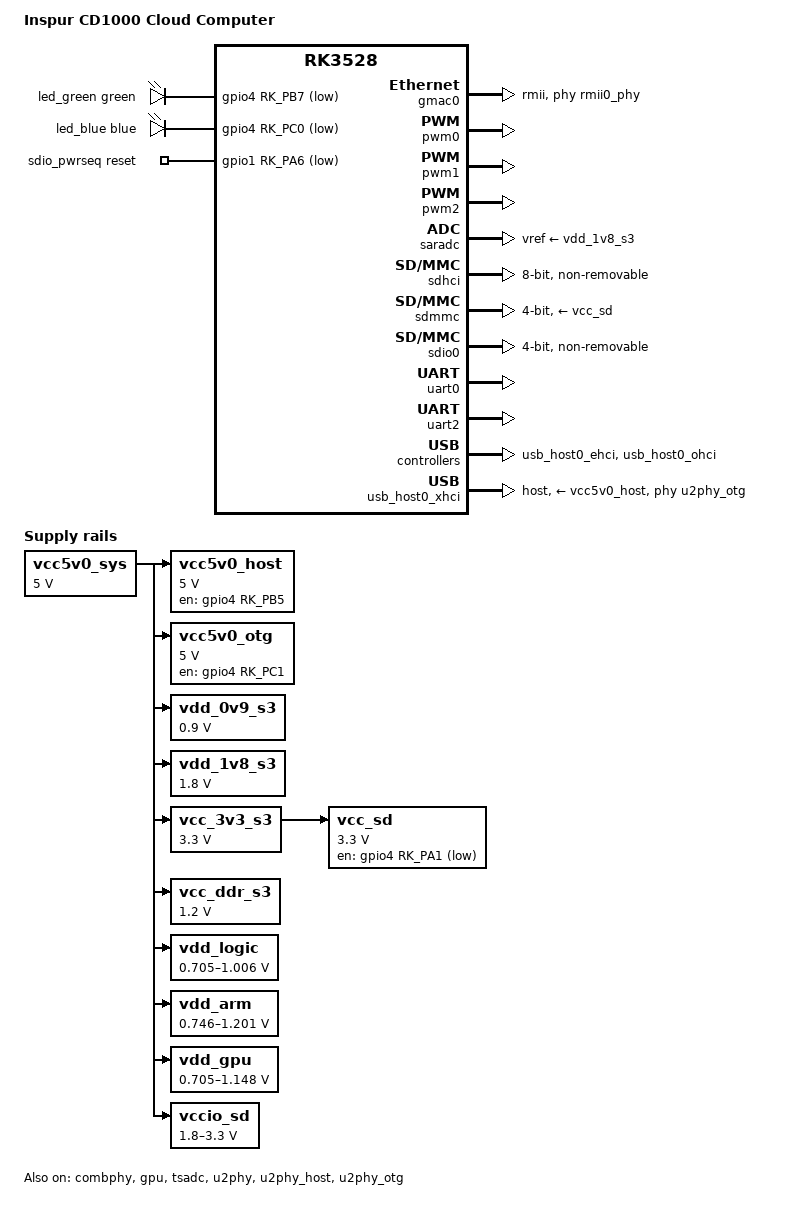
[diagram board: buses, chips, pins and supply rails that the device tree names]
// SPDX-License-Identifier: (GPL-2.0+ OR MIT)
/*
 * Copyright (c) 2022 Rockchip Electronics Co., Ltd.
 * Copyright (c) 2026 https://github.com/LSP0123
 *
 * Device Tree for Inspur CD1000 Cloud Computer Box
 */

/dts-v1/;

#include <dt-bindings/gpio/gpio.h>
#include <dt-bindings/input/input.h>
#include <dt-bindings/leds/common.h>
#include <dt-bindings/phy/phy.h>
#include <dt-bindings/pinctrl/rockchip.h>
#include <dt-bindings/pwm/pwm.h>
#include "rk3528.dtsi"
#include "rk3528-op-pwm.dtsi"

/ {
	model = "Inspur CD1000 Cloud Computer";
	compatible = "rockchip,cd1000", "rockchip,rk3528";

	aliases {
		ethernet0 = &gmac0;
		mmc0 = &sdmmc;
		mmc1 = &sdhci;
		serial0 = &uart0;
	};

	chosen {
		stdout-path = "serial0:1500000n8";
	};

	leds: leds {
		compatible = "gpio-leds";
		pinctrl-names = "default";
		pinctrl-0 = <&led_green_en>, <&led_blue_en>;

		led_green: led-green {
			color = <LED_COLOR_ID_GREEN>;
			function = LED_FUNCTION_HEARTBEAT;
			gpios = <&gpio4 RK_PB7 GPIO_ACTIVE_LOW>;
			linux,default-trigger = "heartbeat";
		};

		led_blue: led-blue {
			color = <LED_COLOR_ID_BLUE>;
			function = LED_FUNCTION_STATUS;
			gpios = <&gpio4 RK_PC0 GPIO_ACTIVE_LOW>;
			default-state = "on";
		};
	};

	reserved_memory: reserved-memory {
		#address-cells = <2>;
		#size-cells = <2>;
		ranges;

		cmd: cma {
			compatible = "shared-dma-pool";
			reusable;
			size = <0x00 0x2000000>;
			linux,cma-default;
		};

		ramoops: ramoops@110000 {
			compatible = "ramoops";
			reg = <0x0 0x110000 0x0 0xe0000>;
			boot-log-size = <0x8000>;
			boot-log-count = <0x1>;
			console-size = <0x80000>;
			pmsg-size = <0x30000>;
			ftrace-size = <0x00000>;
			record-size = <0x14000>;
		};
	};

	/* USB-C 5V input power */
	vcc5v0_sys: vcc5v0-sys {
		compatible = "regulator-fixed";
		regulator-name = "vcc5v0_sys";
		regulator-always-on;
		regulator-boot-on;
		regulator-min-microvolt = <5000000>;
		regulator-max-microvolt = <5000000>;
	};

	vcc5v0_host: vcc5v0-host-regulator {
		compatible = "regulator-fixed";
		regulator-name = "vcc5v0_host";
		regulator-boot-on;
		regulator-always-on;
		regulator-min-microvolt = <5000000>;
		regulator-max-microvolt = <5000000>;
		enable-active-high;
		gpio = <&gpio4 RK_PB5 GPIO_ACTIVE_HIGH>;
		vin-supply = <&vcc5v0_sys>;
		pinctrl-names = "default";
		pinctrl-0 = <&vcc5v0_host_en>;
	};

	vcc5v0_otg: vcc5v0-otg-regulator {
		compatible = "regulator-fixed";
		regulator-name = "vcc5v0_otg";
		regulator-min-microvolt = <5000000>;
		regulator-max-microvolt = <5000000>;
		enable-active-high;
		gpio = <&gpio4 RK_PC1 GPIO_ACTIVE_HIGH>;
		vin-supply = <&vcc5v0_sys>;
		pinctrl-names = "default";
		pinctrl-0 = <&vcc5v0_otg_en>;
	};

	vdd_0v9_s3: vdd-0v9-s3 {
		compatible = "regulator-fixed";
		regulator-name = "vdd_0v9_s3";
		regulator-always-on;
		regulator-boot-on;
		regulator-min-microvolt = <900000>;
		regulator-max-microvolt = <900000>;
		vin-supply = <&vcc5v0_sys>;
	};

	vdd_1v8_s3: vdd-1v8-s3 {
		compatible = "regulator-fixed";
		regulator-name = "vdd_1v8_s3";
		regulator-always-on;
		regulator-boot-on;
		regulator-min-microvolt = <1800000>;
		regulator-max-microvolt = <1800000>;
		vin-supply = <&vcc5v0_sys>;
	};

	vcc_3v3_s3: vcc-3v3-s3 {
		compatible = "regulator-fixed";
		regulator-name = "vcc_3v3_s3";
		regulator-always-on;
		regulator-boot-on;
		regulator-min-microvolt = <3300000>;
		regulator-max-microvolt = <3300000>;
		vin-supply = <&vcc5v0_sys>;
	};

	vcc_ddr_s3: vcc-ddr-s3 {
		compatible = "regulator-fixed";
		regulator-name = "vcc_ddr_s3";
		regulator-always-on;
		regulator-boot-on;
		regulator-min-microvolt = <1200000>;
		regulator-max-microvolt = <1200000>;
		vin-supply = <&vcc5v0_sys>;
	};

	vdd_logic: vdd-logic {
		compatible = "pwm-regulator";
		pwms = <&pwm2 0 5000 PWM_POLARITY_INVERTED>;
		regulator-name = "vdd_logic";
		regulator-min-microvolt = <705000>;
		regulator-max-microvolt = <1006000>;
		regulator-init-microvolt = <900000>;
		regulator-always-on;
		regulator-boot-on;
		regulator-settling-time-up-us = <250>;
		pwm-supply = <&vcc5v0_sys>;
	};

	vdd_arm: vdd-arm {
		compatible = "pwm-regulator";
		pwms = <&pwm1 0 5000 PWM_POLARITY_INVERTED>;
		regulator-name = "vdd_arm";
		regulator-min-microvolt = <746000>;
		regulator-max-microvolt = <1201000>;
		regulator-init-microvolt = <953000>;
		regulator-always-on;
		regulator-boot-on;
		regulator-settling-time-up-us = <250>;
		regulator-enable-ramp-delay = <400>;
		regulator-ramp-delay = <12500>;
		pwm-supply = <&vcc5v0_sys>;
	};

	vdd_gpu: vdd-gpu {
		compatible = "pwm-regulator";
		pwms = <&pwm0 0 5000 PWM_POLARITY_INVERTED>;
		regulator-name = "vdd_gpu";
		regulator-min-microvolt = <705000>;
		regulator-max-microvolt = <1148000>;
		regulator-init-microvolt = <900000>;
		regulator-always-on;
		regulator-boot-on;
		regulator-settling-time-up-us = <250>;
		pwm-supply = <&vcc5v0_sys>;
	};

	vccio_sd: vccio-sd {
		compatible = "regulator-gpio";
		regulator-name = "vccio_sd";
		regulator-min-microvolt = <1800000>;
		regulator-max-microvolt = <3300000>;
		gpios = <&gpio4 RK_PB6 GPIO_ACTIVE_HIGH>;
		vin-supply = <&vcc5v0_sys>;
		states = <1800000 0x0
			  3300000 0x1>;
	};

	vcc_sd: vcc-sd {
		compatible = "regulator-fixed";
		gpio = <&gpio4 RK_PA1 GPIO_ACTIVE_LOW>;
		regulator-name = "vcc_sd";
		regulator-min-microvolt = <3300000>;
		regulator-max-microvolt = <3300000>;
		vin-supply = <&vcc_3v3_s3>;
	};

	sdio_pwrseq: sdio-pwrseq {
		compatible = "mmc-pwrseq-simple";
		pinctrl-names = "default";
		pinctrl-0 = <&wifi_enable_h>;
		reset-gpios = <&gpio1 RK_PA6 GPIO_ACTIVE_LOW>;
	};
};

/* combphy is used for USB 3.0 (shared with PCIe, mutually exclusive) */
&combphy {
	rockchip,enable-ssc;
	rockchip,u3phy-only;
	phy-supply = <&vcc5v0_host>;
	status = "okay";
};

&cpu0 {
	cpu-supply = <&vdd_arm>;
};

&cpu1 {
	cpu-supply = <&vdd_arm>;
};

&cpu2 {
	cpu-supply = <&vdd_arm>;
};

&cpu3 {
	cpu-supply = <&vdd_arm>;
};

/* CD1000 uses 100M Ethernet via RK3528 integrated PHY (gmac0) */
&gmac0 {
	phy-handle = <&rmii0_phy>;
	phy-mode = "rmii";
	clock_in_out = "output";
	status = "okay";
};

&gpu {
	mali-supply = <&vdd_gpu>;
	status = "okay";
};

/* PCIe disabled: combphy is used for USB 3.0 on CD1000 */
/*
 * Note: HDMI is not yet supported in mainline rk3528.dtsi.
 * HDMI output will be available once upstream HDMI/VOP drivers are merged.
 */

&pinctrl {
	leds {
		led_green_en: led-green-en {
			rockchip,pins = <4 RK_PB7 RK_FUNC_GPIO &pcfg_pull_up>;
		};

		led_blue_en: led-blue-en {
			rockchip,pins = <4 RK_PC0 RK_FUNC_GPIO &pcfg_pull_up>;
		};
	};

	sdio-pwrseq {
		wifi_enable_h: wifi-enable-h {
			rockchip,pins = <1 RK_PA6 RK_FUNC_GPIO &pcfg_pull_up>;
		};
	};

	wireless-wlan {
		wifi_host_wake_irq: wifi-host-wake-irq {
			rockchip,pins = <1 RK_PA7 RK_FUNC_GPIO &pcfg_pull_down>;
		};
	};

	wireless-bluetooth {
		uart2m1_gpios: uart2m1-gpios {
			rockchip,pins = <1 RK_PB2 RK_FUNC_GPIO &pcfg_pull_none>;
		};
		bt_reset_gpio: bt-reset-gpio {
			rockchip,pins = <1 RK_PC1 RK_FUNC_GPIO &pcfg_pull_none>;
		};
		bt_wake_gpio: bt-wake-gpio {
			rockchip,pins = <1 RK_PB4 RK_FUNC_GPIO &pcfg_pull_none>;
		};
		bt_host_wake_irq: bt-host-wake-irq {
			rockchip,pins = <1 RK_PC2 RK_FUNC_GPIO &pcfg_pull_down>;
		};
	};

	usb {
		vcc5v0_host_en: vcc5v0-host-en {
			rockchip,pins = <4 RK_PB5 RK_FUNC_GPIO &pcfg_pull_none>;
		};

		vcc5v0_otg_en: vcc5v0-otg-en {
			rockchip,pins = <4 RK_PC1 RK_FUNC_GPIO &pcfg_pull_none>;
		};
	};
};

&pwm0 {
	pinctrl-names = "default";
	pinctrl-0 = <&pwm0m0_pins>;
	status = "okay";
};

&pwm1 {
	pinctrl-names = "default";
	pinctrl-0 = <&pwm1m0_pins>;
	status = "okay";
};

&pwm2 {
	pinctrl-names = "default";
	pinctrl-0 = <&pwm2m0_pins>;
	status = "okay";
};

&saradc {
	status = "okay";
	vref-supply = <&vdd_1v8_s3>;
};

&sdhci {
	bus-width = <8>;
	no-sd;
	no-sdio;
	non-removable;
	mmc-hs200-1_8v;
	max-frequency = <200000000>;
	pinctrl-names = "default";
	pinctrl-0 = <&emmc_clk &emmc_cmd &emmc_strb &emmc_bus8>;
	status = "okay";
};

&sdmmc {
	bus-width = <4>;
	cap-mmc-highspeed;
	cap-sd-highspeed;
	disable-wp;
	max-frequency = <150000000>;
	pinctrl-names = "default";
	pinctrl-0 = <&sdmmc_clk &sdmmc_cmd &sdmmc_det &sdmmc_bus4>;
	supports-sd;
	sd-uhs-sdr12;
	sd-uhs-sdr25;
	sd-uhs-sdr50;
	sd-uhs-sdr104;
	vmmc-supply = <&vcc_sd>;
	vqmmc-supply = <&vccio_sd>;
	status = "okay";
};

&sdio0 {
	max-frequency = <200000000>;
	no-sd;
	no-mmc;
	supports-sdio;
	bus-width = <4>;
	disable-wp;
	cap-sd-highspeed;
	cap-sdio-irq;
	keep-power-in-suspend;
	non-removable;
	mmc-pwrseq = <&sdio_pwrseq>;
	pinctrl-names = "default";
	pinctrl-0 = <&sdio0_bus4 &sdio0_cmd &sdio0_clk>;
	sd-uhs-sdr104;
	status = "okay";
};

&tsadc {
	status = "okay";
};

&u2phy {
	status = "okay";
};

&u2phy_host {
	phy-supply = <&vcc5v0_host>;
	status = "okay";
};

&u2phy_otg {
	vbus-supply = <&vcc5v0_otg>;
	status = "okay";
};

&uart0 {
	pinctrl-names = "default";
	pinctrl-0 = <&uart0m0_xfer>;
	status = "okay";
};

&uart2 {
	pinctrl-names = "default";
	pinctrl-0 = <&uart2m1_xfer &uart2m1_ctsn>;
	status = "okay";
};

&usb_host0_ehci {
	status = "okay";
};

&usb_host0_ohci {
	status = "okay";
};

/* 1x USB 3.0 port (xHCI with combphy USB3 + u2phy USB2) */
&usb_host0_xhci {
	dr_mode = "host";
	phys = <&u2phy_otg>, <&combphy PHY_TYPE_USB3>;
	phy-names = "usb2-phy", "usb3-phy";
	vbus-supply = <&vcc5v0_host>;
	snps,dis_u2_susphy_quirk;
	snps,dis_u3_susphy_quirk;
	snps,dis-del-phy-power-chg-quirk;
	snps,tx-fifo-resize;
	status = "okay";
};
